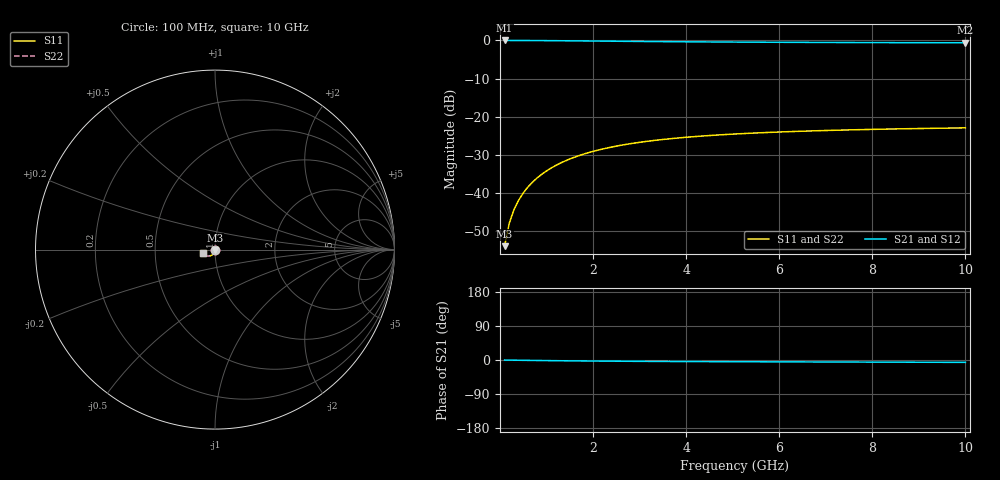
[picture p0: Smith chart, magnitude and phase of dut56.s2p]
! Touchstone file exported from HFSS 2024.1.0
!  File:  C:/UserFiles/LocalFiles/RDL_TSV_Batchsim/temp_TSV1_56_1779372534.aedt
!  Generated:  10:14:30 PM May 21, 2026
!  Design:  TSV1
!  Project:  temp_TSV1_56_1779372534
!  Setup:  Setup1
!  Solution:  Sweep
! Variables:
!  dtsv = 13.1um
!  hbump = 3um
!  htsv = 97.73um
!  lrdl = 252.1521522um
!  p = 40
!  p1 = 47.63um
!  t = 500um
!  trdl = 3um
!  wrdl = 24.89489489um
# GHz S MA R 50.000000
! Terminal data exported
! Port[1] = TSV22_T1
! Port[2] = TSV22_T2
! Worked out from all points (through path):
!   100 points, 100 MHz to 10 GHz, reference 50 ohm
!   highest |S21| = 0.00 dB at 100 MHz (marker M1); lowest = -0.6 dB at 10 GHz (marker M2)
!   lowest |S11| = -53.9 dB at 100 MHz (marker M3), VSWR 1.00, Z = 50 - j0.201 ohm
!   |S11| at or under -10 dB: start of sweep to end of sweep
!   |S22| runs from -53.9 to -22.9 dB; largest |S21 - S12| = 4.1e-15
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0.1  0.002014 -88.7  0.9998 -0.2  0.9998 -0.2  0.002014 -88.7
! Gamma 0 0 0 0
! Port Impedance 50 0 50 0
0.2  0.004025 -91.7  0.9996 -0.3  0.9996 -0.3  0.004025 -91.7
0.3  0.006035 -93.7  0.9993 -0.5  0.9993 -0.5  0.006035 -93.7
0.4  0.008035 -95.6  0.9989 -0.7  0.9989 -0.7  0.008035 -95.6
0.5  0.01002 -97.4  0.9984 -0.8  0.9984 -0.8  0.01002 -97.4
0.6  0.01198 -99.1  0.9978 -1.0  0.9978 -1.0  0.01198 -99.1
0.7  0.01391 -100.8  0.9971 -1.1  0.9971 -1.1  0.01391 -100.8
0.8  0.01581 -102.4  0.9963 -1.3  0.9963 -1.3  0.01581 -102.4
0.9  0.01767 -104.0  0.9954 -1.4  0.9954 -1.4  0.01767 -104.0
1.1  0.02127 -107.2  0.9935 -1.7  0.9935 -1.7  0.02127 -107.2
1.4  0.02634 -111.6  0.9902 -2.1  0.9902 -2.1  0.02634 -111.6
1.6  0.02947 -114.4  0.9878 -2.3  0.9878 -2.3  0.02947 -114.4
1.8  0.03241 -117.1  0.9853 -2.5  0.9853 -2.5  0.03241 -117.1
2.1  0.03646 -120.8  0.9815 -2.8  0.9815 -2.8  0.03646 -120.8
2.5  0.0412 -125.3  0.9765 -3.2  0.9765 -3.2  0.0412 -125.3
2.9  0.04529 -129.3  0.9717 -3.5  0.9717 -3.5  0.04529 -129.3
3.4  0.0496 -133.8  0.9663 -3.8  0.9663 -3.8  0.0496 -133.8
4.2  0.05505 -139.7  0.9587 -4.2  0.9587 -4.2  0.05505 -139.7
5.1  0.05964 -145.1  0.9518 -4.5  0.9518 -4.5  0.05964 -145.1
6.7  0.06525 -152.5  0.9428 -5.1  0.9428 -5.1  0.06525 -152.5
8.4  0.06908 -158.3  0.9363 -5.7  0.9363 -5.7  0.06908 -158.3
10  0.07153 -162.6  0.932 -6.2  0.932 -6.2  0.07153 -162.6
